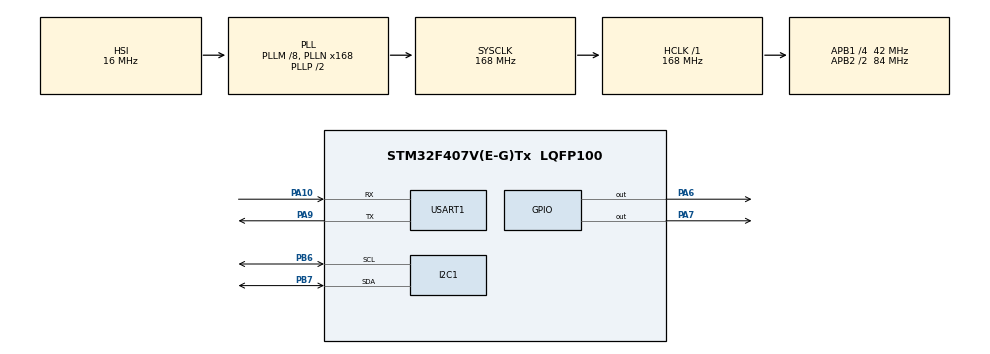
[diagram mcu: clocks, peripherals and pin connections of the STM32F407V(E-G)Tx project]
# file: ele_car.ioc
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Dma.MEMTOMEM.2.Direction=DMA_MEMORY_TO_MEMORY
Dma.MEMTOMEM.2.FIFOMode=DMA_FIFOMODE_ENABLE
Dma.MEMTOMEM.2.FIFOThreshold=DMA_FIFO_THRESHOLD_FULL
Dma.MEMTOMEM.2.Instance=DMA2_Stream0
Dma.MEMTOMEM.2.MemBurst=DMA_MBURST_SINGLE
Dma.MEMTOMEM.2.MemDataAlignment=DMA_MDATAALIGN_BYTE
Dma.MEMTOMEM.2.MemInc=DMA_MINC_ENABLE
Dma.MEMTOMEM.2.Mode=DMA_NORMAL
Dma.MEMTOMEM.2.PeriphBurst=DMA_PBURST_SINGLE
Dma.MEMTOMEM.2.PeriphDataAlignment=DMA_PDATAALIGN_BYTE
Dma.MEMTOMEM.2.PeriphInc=DMA_PINC_ENABLE
Dma.MEMTOMEM.2.Priority=DMA_PRIORITY_LOW
Dma.Request0=USART1_RX
Dma.Request1=USART1_TX
Dma.Request2=MEMTOMEM
Dma.USART1_RX.0.Direction=DMA_PERIPH_TO_MEMORY
Dma.USART1_RX.0.FIFOMode=DMA_FIFOMODE_DISABLE
Dma.USART1_RX.0.Instance=DMA2_Stream2
Dma.USART1_RX.0.MemDataAlignment=DMA_MDATAALIGN_BYTE
Dma.USART1_RX.0.MemInc=DMA_MINC_ENABLE
Dma.USART1_RX.0.Mode=DMA_NORMAL
Dma.USART1_RX.0.PeriphDataAlignment=DMA_PDATAALIGN_BYTE
Dma.USART1_RX.0.PeriphInc=DMA_PINC_DISABLE
Dma.USART1_RX.0.Priority=DMA_PRIORITY_MEDIUM
Dma.USART1_TX.1.Direction=DMA_MEMORY_TO_PERIPH
Dma.USART1_TX.1.FIFOMode=DMA_FIFOMODE_DISABLE
Dma.USART1_TX.1.Instance=DMA2_Stream7
Dma.USART1_TX.1.MemDataAlignment=DMA_MDATAALIGN_BYTE
Dma.USART1_TX.1.MemInc=DMA_MINC_ENABLE
Dma.USART1_TX.1.Mode=DMA_NORMAL
Dma.USART1_TX.1.PeriphDataAlignment=DMA_PDATAALIGN_BYTE
Dma.USART1_TX.1.PeriphInc=DMA_PINC_DISABLE
Dma.USART1_TX.1.Priority=DMA_PRIORITY_MEDIUM
Mcu.Family=STM32F4
Mcu.Name=STM32F407V(E-G)Tx
Mcu.Package=LQFP100
NVIC.DMA2_Stream2_IRQn=true\:0\:0\:false\:false\:true\:false\:true\:true
NVIC.DMA2_Stream7_IRQn=true\:0\:0\:false\:false\:true\:false\:true\:true
NVIC.PriorityGroup=NVIC_PRIORITYGROUP_4
NVIC.USART1_IRQn=true\:0\:0\:false\:false\:true\:true\:true\:true
PA10.Mode=Asynchronous
PA10.Signal=USART1_RX
PA13.Mode=Serial_Wire
PA13.Signal=SYS_JTMS-SWDIO
PA14.Mode=Serial_Wire
PA14.Signal=SYS_JTCK-SWCLK
PA6.Signal=GPIO_Output
PA7.Signal=GPIO_Output
PA9.Mode=Asynchronous
PA9.Signal=USART1_TX
PB6.Mode=I2C
PB6.Signal=I2C1_SCL
PB7.Mode=I2C
PB7.Signal=I2C1_SDA
PH0-OSC_IN.Mode=HSE-External-Oscillator
PH0-OSC_IN.Signal=RCC_OSC_IN
PH1-OSC_OUT.Mode=HSE-External-Oscillator
PH1-OSC_OUT.Signal=RCC_OSC_OUT
ProjectManager.HeapSize=0x200
ProjectManager.StackSize=0x400
ProjectManager.TargetToolchain=MDK-ARM V5.32
RCC.48MHZClocksFreq_Value=84000000
RCC.AHBFreq_Value=168000000
RCC.APB1CLKDivider=RCC_HCLK_DIV4
RCC.APB1Freq_Value=42000000
RCC.APB1TimFreq_Value=84000000
RCC.APB2CLKDivider=RCC_HCLK_DIV2
RCC.APB2Freq_Value=84000000
RCC.APB2TimFreq_Value=168000000
RCC.CortexFreq_Value=168000000
RCC.HCLKFreq_Value=168000000
RCC.HSE_VALUE=25000000
RCC.HSI_VALUE=16000000
RCC.LSE_VALUE=32768
RCC.PLLM=8
RCC.PLLN=168
RCC.SYSCLKFreq_VALUE=168000000
RCC.SYSCLKSource=RCC_SYSCLKSOURCE_PLLCLK
RCC.VCOOutputFreq_Value=336000000
USART1.VirtualMode=VM_ASYNC
board=custom

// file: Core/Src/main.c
/* USER CODE BEGIN Header */
/**
  ******************************************************************************
  * @file           : main.c
  * @brief          : Main program body
  ******************************************************************************
  * @attention
  *
  * Copyright (c) 2023 STMicroelectronics.
  * All rights reserved.
  *
  * This software is licensed under terms that can be found in the LICENSE file
  * in the root directory of this software component.
  * If no LICENSE file comes with this software, it is provided AS-IS.
  *
  ******************************************************************************
  */
/* USER CODE END Header */
#include "main.h"
#include "dma.h"
#include "i2c.h"
#include "usart.h"
#include "gpio.h"

/* USER CODE BEGIN Includes */
#include "string.h"
#include "oled.h"
/* USER CODE END Includes */

void SystemClock_Config(void);

/* USER CODE BEGIN 0 */

/*
*********************************************************************************************************
* 函 数 名: DMA_Usart_Send
* 功能说明: 串口发送功能函数
* 形  参: buf，len
* 返 回 值: 无
*********************************************************************************************************
*/
void DMA_Usart_Send(uint8_t *buf,uint8_t len)//串口发送封装
{
 if(HAL_UART_Transmit_DMA(&huart1, buf,len)!= HAL_OK) //判断是否发送正常，如果出现异常则进入异常中断函数
  {
   Error_Handler();
  }

}

/*
*********************************************************************************************************
* 函 数 名: DMA_Usart1_Read
* 功能说明: 串口接收功能函数
* 形  参: Data,len
* 返 回 值: 无
*********************************************************************************************************
*/
void DMA_Usart1_Read(uint8_t *Data,uint8_t len)//串口接收封装
{
	HAL_UART_Receive_DMA(&huart1,Data,len);//重新打开DMA接收
}

/* USER CODE END 0 */

int main(void)
{

  /* MCU Configuration--------------------------------------------------------*/

  /* Reset of all peripherals, Initializes the Flash interface and the Systick. */
  HAL_Init();

  /* Configure the system clock */
  SystemClock_Config();

  /* Initialize all configured peripherals */
  MX_GPIO_Init();
  MX_DMA_Init();
  MX_USART1_UART_Init();
  MX_I2C1_Init();
  /* USER CODE BEGIN 2 */
	OLED_Init();
	OLED_Clear();

  /* USER CODE END 2 */

  /* Infinite loop */
  while (1)
  {

    /* USER CODE BEGIN 3 */

		//DMA_Usart_Send((uint8_t *)Senbuff, sizeof(Senbuff));
		if(recv_end_flag == 1)  //接收完成标志
		{
			if(strncmp(&rx_buffer[0], "3", 1) == 0)
			{
				OLED_MyDisplay("OpenMv", "3");
//				OLED_ShowString(0, 0, "OpenMv:", 8);
//				OLED_ShowString(60,0,"3",8);
				HAL_GPIO_TogglePin(GPIOA, GPIO_PIN_6);
				HAL_GPIO_TogglePin(GPIOA, GPIO_PIN_7);
				HAL_Delay(100);
			}
			DMA_Usart_Send(rx_buffer, rx_len);
			rx_len = 0;//清除计数
			recv_end_flag = 0;//清除接收结束标志位
//			for(uint8_t i=0;i<rx_len;i++)
//			{
//				rx_buffer[i]=0;//清接收缓存
//			}
			memset(rx_buffer,0,rx_len);
		}

		// DMA_Usart_Send((uint8_t *)Senbuff, sizeof(Senbuff));
		HAL_UART_Receive_DMA(&huart1,rx_buffer,BUFFER_SIZE);//重新打开DMA接收
  }
  /* USER CODE END 3 */
}

void SystemClock_Config(void)
{
  RCC_OscInitTypeDef RCC_OscInitStruct = {0};
  RCC_ClkInitTypeDef RCC_ClkInitStruct = {0};

  /** Configure the main internal regulator output voltage
  */
  __HAL_RCC_PWR_CLK_ENABLE();
  __HAL_PWR_VOLTAGESCALING_CONFIG(PWR_REGULATOR_VOLTAGE_SCALE1);

  /** Initializes the RCC Oscillators according to the specified parameters
  * in the RCC_OscInitTypeDef structure.
  */
  RCC_OscInitStruct.OscillatorType = RCC_OSCILLATORTYPE_HSI;
  RCC_OscInitStruct.HSIState = RCC_HSI_ON;
  RCC_OscInitStruct.HSICalibrationValue = RCC_HSICALIBRATION_DEFAULT;
  RCC_OscInitStruct.PLL.PLLState = RCC_PLL_ON;
  RCC_OscInitStruct.PLL.PLLSource = RCC_PLLSOURCE_HSI;
  RCC_OscInitStruct.PLL.PLLM = 8;
  RCC_OscInitStruct.PLL.PLLN = 168;
  RCC_OscInitStruct.PLL.PLLP = RCC_PLLP_DIV2;
  RCC_OscInitStruct.PLL.PLLQ = 4;
  if (HAL_RCC_OscConfig(&RCC_OscInitStruct) != HAL_OK)
  {
    Error_Handler();
  }

  /** Initializes the CPU, AHB and APB buses clocks
  */
  RCC_ClkInitStruct.ClockType = RCC_CLOCKTYPE_HCLK|RCC_CLOCKTYPE_SYSCLK
                              |RCC_CLOCKTYPE_PCLK1|RCC_CLOCKTYPE_PCLK2;
  RCC_ClkInitStruct.SYSCLKSource = RCC_SYSCLKSOURCE_PLLCLK;
  RCC_ClkInitStruct.AHBCLKDivider = RCC_SYSCLK_DIV1;
  RCC_ClkInitStruct.APB1CLKDivider = RCC_HCLK_DIV4;
  RCC_ClkInitStruct.APB2CLKDivider = RCC_HCLK_DIV2;

  if (HAL_RCC_ClockConfig(&RCC_ClkInitStruct, FLASH_LATENCY_5) != HAL_OK)
  {
    Error_Handler();
  }
}

void Error_Handler(void)
{
  __disable_irq();
  while (1)
  {
  }
}
